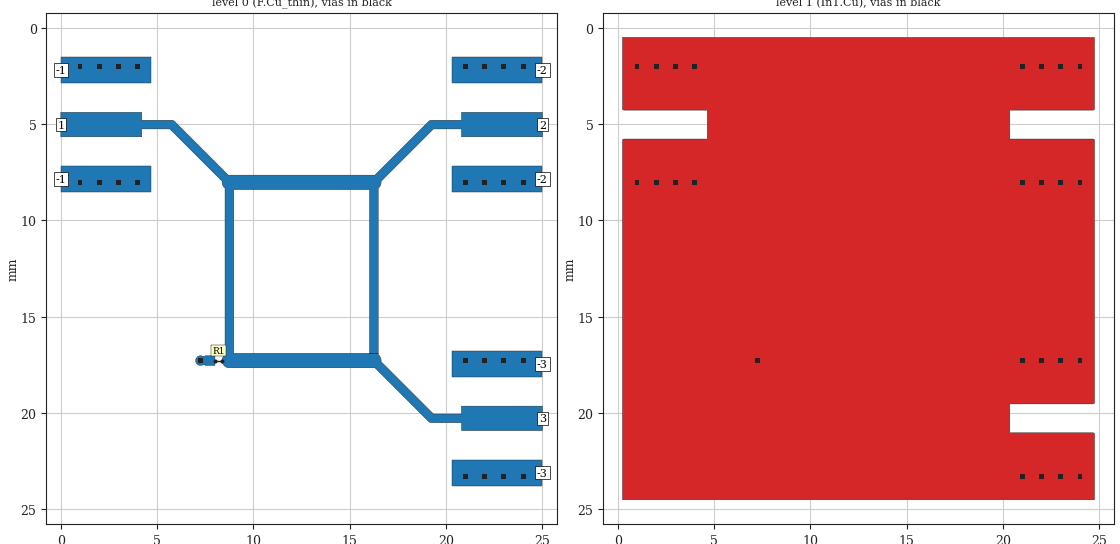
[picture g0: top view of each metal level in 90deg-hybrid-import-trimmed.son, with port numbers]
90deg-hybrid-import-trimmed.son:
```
FTYP SONPROJ 19 ! Sonnet Project File
VER 18.56
HEADER
LIC antikernel2.1.51813
DAT 11/29/2022 08:57:19
BUILT_BY_CREATED xgeom 18.56 11/27/2022 18:54:38
BUILT_BY_SAVED sonnet 18.56
MDATE 11/29/2022 00:23:21
HDATE 11/29/2022 00:23:21
ANN Created by dxfgeo, Sonnet Software Inc.
END HEADER
DIM
ANG DEG
CAP PF
CON /OH
FREQ GHZ
IND NH
LNG MM
RES OH
END DIM
CONTROL
VARSWP
OPTIONS  -dj
SPEED 1
CACHE_ABS 2
Q_ACC N
END CONTROL
GEO
STF ../../sonnet-techfiles/oshpark/4l/oshpark-4l-nosoldermask.stf
DRP1 LEFT NONE 3
DRP1 RIGHT NONE 3
TMET "Free Space" 0 FREESPACE 376.7303136 0 0 0
BMET "Free Space" 0 FREESPACE 376.7303136 0 0 0
BOX 0 25 25 2000 2000 20 0
TECHLAY METAL F.Cu_thin <UNSPECIFIED> -2 0 CAD F.Cu_thin drawing 
0 0 1 N 61 1 1 100 100 0 0 0 Y
END
END
LORGN 0 25 U 
POR1 BOX
POLY 6 1
2
-3 50 0 0 0 25 23.1 
POR1 BOX
POLY 13 1
0
-1 50 0 0 0 -3.469446952e-16 2.2 
POR1 BOX
POLY 14 1
2
-2 50 0 0 0 25 2.2 
POR1 BOX
POLY 9 1
0
-1 50 0 0 0 -3.469446952e-16 7.85 
POR1 BOX
POLY 10 1
2
-2 50 0 0 0 25 7.85 
POR1 BOX
POLY 90 1
64
1 50 0 0 0 -4.440892099e-16 5.025 
POR1 BOX
POLY 90 1
38
2 50 0 0 0 25 5.025 
POR1 BOX
POLY 90 1
119
3 50 0 0 0 25 20.275 
POR1 BOX
POLY 8 1
2
-3 50 0 0 0 25 17.45 
SMD 0 "R1"
ID 92
GNDREF AUTO
DRP1 LEFT NONE 2
DRP1 RIGHT NONE 2
SBOX 8.09375 8.28125 17.18125 17.36875
PBSHW N
LPOS 8.1875 17.18125
TYPE SPARAM 1
SMDP 0 8 17.275 L 4 1 
EXSMDP
GNDREF AUTO
TERMW FEED
END EXSMDP
SMDP 0 8.375 17.275 R 5 2 
EXSMDP
GNDREF AUTO
TERMW FEED
END EXSMDP
END
NUM 34
0 5 1 N 6 1 1 100 100 0 0 0 Y
TLAYNAM F.Cu_thin INH
USER_DAT FromImport
20.3 23.775
20.3 22.425
25 22.425
25 23.775
20.3 23.775
END
0 5 1 N 13 1 1 100 100 0 0 0 Y
TLAYNAM F.Cu_thin INH
USER_DAT FromImport
-3.469446952e-16 2.875
-3.469446952e-16 1.525
4.7 1.525
4.7 2.875
-3.469446952e-16 2.875
END
0 5 1 N 14 1 1 100 100 0 0 0 Y
TLAYNAM F.Cu_thin INH
USER_DAT FromImport
20.3 2.875
20.3 1.525
25 1.525
25 2.875
20.3 2.875
END
0 5 1 N 9 1 1 100 100 0 0 0 Y
TLAYNAM F.Cu_thin INH
USER_DAT FromImport
-3.469446952e-16 8.525
-3.469446952e-16 7.175
4.7 7.175
4.7 8.525
-3.469446952e-16 8.525
END
0 51 1 N 7 1 1 100 100 0 0 0 Y
TLAYNAM F.Cu_thin INH
USER_DAT FromImport
7.238 17.525
7.213 17.522
7.189 17.518
7.166 17.51
7.143 17.501
7.121 17.489
7.101 17.476
7.082 17.46
7.065 17.443
7.049 17.424
7.036 17.404
7.024 17.382
7.015 17.359
7.007 17.336
7.003 17.312
7 17.287
7 17.263
7.003 17.238
7.007 17.214
7.015 17.191
7.024 17.168
7.036 17.146
7.049 17.126
7.065 17.107
7.082 17.09
7.101 17.074
7.121 17.061
7.143 17.049
7.166 17.04
7.189 17.032
7.213 17.028
7.238 17.025
7.262 17.025
7.287 17.028
7.311 17.032
7.334 17.04
7.357 17.049
7.359 17.05
7.5 17.05
7.5 17.025
8 17.025
8 17.525
7.5 17.525
7.5 17.5
7.359 17.5
7.357 17.501
7.334 17.51
7.311 17.518
7.287 17.522
7.262 17.525
7.238 17.525
END
0 5 1 N 10 1 1 100 100 0 0 0 Y
TLAYNAM F.Cu_thin INH
USER_DAT FromImport
20.3 8.525
20.3 7.175
25 7.175
25 8.525
20.3 8.525
END
0 121 1 N 90 1 1 100 100 0 0 0 Y
TLAYNAM F.Cu_thin INH
USER_DAT FromImport
25 19.64
20.8 19.64
20.8 20.05
19.343 20.05
16.621 17.328
16.625 17.293
16.625 17.257
16.621 17.22
16.614 17.184
16.604 17.149
16.589 17.114
16.572 17.082
16.552 17.051
16.528 17.023
16.502 16.997
16.475 16.974
16.475 16.9
16.025 16.9
8.975 16.9
8.975 8.4
16.025 8.4
16.025 16.9
16.475 16.9
16.475 8.326
16.502 8.303
16.528 8.277
16.552 8.249
16.572 8.218
16.589 8.186
16.604 8.151
16.614 8.116
16.621 8.08
16.625 8.043
16.625 8.007
16.621 7.972
19.343 5.25
20.8 5.25
20.8 5.66
25 5.66
25 4.39
20.8 4.39
20.8 4.8
19.239 4.8
19.217 4.802
19.195 4.806
19.174 4.813
19.154 4.821
19.134 4.832
19.116 4.844
19.099 4.858
16.303 7.654
16.268 7.65
8.732 7.65
8.697 7.654
5.901 4.858
5.884 4.844
5.866 4.832
5.846 4.821
5.826 4.813
5.805 4.806
5.783 4.802
5.761 4.8
4.2 4.8
4.2 4.39
-4.440892099e-16 4.39
-4.440892099e-16 5.66
4.2 5.66
4.2 5.25
5.657 5.25
8.379 7.972
8.375 8.007
8.375 8.043
8.379 8.08
8.386 8.116
8.396 8.151
8.411 8.186
8.428 8.218
8.448 8.249
8.472 8.277
8.498 8.303
8.525 8.326
8.525 16.974
8.498 16.997
8.472 17.023
8.448 17.051
8.428 17.082
8.411 17.114
8.396 17.149
8.386 17.184
8.379 17.22
8.375 17.257
8.375 17.293
8.379 17.33
8.386 17.366
8.396 17.401
8.411 17.436
8.428 17.468
8.448 17.499
8.472 17.527
8.498 17.553
8.526 17.577
8.557 17.597
8.589 17.614
8.624 17.629
8.659 17.639
8.695 17.646
8.732 17.65
16.268 17.65
16.303 17.646
19.099 20.442
19.116 20.456
19.134 20.468
19.154 20.479
19.174 20.487
19.195 20.494
19.217 20.498
19.239 20.5
20.8 20.5
20.8 20.91
25 20.91
25 19.64
END
0 5 1 N 8 1 1 100 100 0 0 0 Y
TLAYNAM F.Cu_thin INH
USER_DAT FromImport
20.3 18.125
20.3 16.775
25 16.775
25 18.125
20.3 18.125
END
VIA POLYGON
0 5 -1 N 35 1 1 100 100 0 0 0 Y
TOLEVEL 3 RING NOCOVERS
TLAYNAM Via1 INH
USER_DAT FromImport
23.875 23.4
23.875 23.15
24.125 23.15
24.125 23.4
23.875 23.4
END
VIA POLYGON
0 5 -1 N 32 1 1 100 100 0 0 0 Y
TOLEVEL 3 RING NOCOVERS
TLAYNAM Via1 INH
USER_DAT FromImport
20.875 23.4
20.875 23.15
21.125 23.15
21.125 23.4
20.875 23.4
END
VIA POLYGON
0 5 -1 N 33 1 1 100 100 0 0 0 Y
TOLEVEL 3 RING NOCOVERS
TLAYNAM Via1 INH
USER_DAT FromImport
21.875 23.4
21.875 23.15
22.125 23.15
22.125 23.4
21.875 23.4
END
VIA POLYGON
0 5 -1 N 53 1 1 100 100 0 0 0 Y
TOLEVEL 3 RING NOCOVERS
TLAYNAM Via1 INH
USER_DAT FromImport
20.875 2.15
20.875 1.9
21.125 1.9
21.125 2.15
20.875 2.15
END
VIA POLYGON
0 5 -1 N 42 1 1 100 100 0 0 0 Y
TOLEVEL 3 RING NOCOVERS
TLAYNAM Via1 INH
USER_DAT FromImport
1.875 8.15
1.875 7.9
2.125 7.9
2.125 8.15
1.875 8.15
END
VIA POLYGON
0 5 -1 N 38 1 1 100 100 0 0 0 Y
TOLEVEL 3 RING NOCOVERS
TLAYNAM Via1 INH
USER_DAT FromImport
21.875 17.4
21.875 17.15
22.125 17.15
22.125 17.4
21.875 17.4
END
VIA POLYGON
0 5 -1 N 47 1 1 100 100 0 0 0 Y
TOLEVEL 3 RING NOCOVERS
TLAYNAM Via1 INH
USER_DAT FromImport
22.875 8.15
22.875 7.9
23.125 7.9
23.125 8.15
22.875 8.15
END
VIA POLYGON
0 5 -1 N 54 1 1 100 100 0 0 0 Y
TOLEVEL 3 RING NOCOVERS
TLAYNAM Via1 INH
USER_DAT FromImport
21.875 2.15
21.875 1.9
22.125 1.9
22.125 2.15
21.875 2.15
END
VIA POLYGON
0 5 -1 N 50 1 1 100 100 0 0 0 Y
TOLEVEL 3 RING NOCOVERS
TLAYNAM Via1 INH
USER_DAT FromImport
1.875 2.15
1.875 1.9
2.125 1.9
2.125 2.15
1.875 2.15
END
VIA POLYGON
0 5 -1 N 34 1 1 100 100 0 0 0 Y
TOLEVEL 3 RING NOCOVERS
TLAYNAM Via1 INH
USER_DAT FromImport
22.875 23.4
22.875 23.15
23.125 23.15
23.125 23.4
22.875 23.4
END
VIA POLYGON
0 5 -1 N 48 1 1 100 100 0 0 0 Y
TOLEVEL 3 RING NOCOVERS
TLAYNAM Via1 INH
USER_DAT FromImport
23.875 8.15
23.875 7.9
24.125 7.9
24.125 8.15
23.875 8.15
END
VIA POLYGON
0 5 -1 N 52 1 1 100 100 0 0 0 Y
TOLEVEL 3 RING NOCOVERS
TLAYNAM Via1 INH
USER_DAT FromImport
3.875 2.15
3.875 1.9
4.125 1.9
4.125 2.15
3.875 2.15
END
VIA POLYGON
0 5 -1 N 45 1 1 100 100 0 0 0 Y
TOLEVEL 3 RING NOCOVERS
TLAYNAM Via1 INH
USER_DAT FromImport
20.875 8.15
20.875 7.9
21.125 7.9
21.125 8.15
20.875 8.15
END
VIA POLYGON
0 5 -1 N 39 1 1 100 100 0 0 0 Y
TOLEVEL 3 RING NOCOVERS
TLAYNAM Via1 INH
USER_DAT FromImport
22.875 17.4
22.875 17.15
23.125 17.15
23.125 17.4
22.875 17.4
END
VIA POLYGON
0 5 -1 N 51 1 1 100 100 0 0 0 Y
TOLEVEL 3 RING NOCOVERS
TLAYNAM Via1 INH
USER_DAT FromImport
2.875 2.15
2.875 1.9
3.125 1.9
3.125 2.15
2.875 2.15
END
VIA POLYGON
0 5 -1 N 44 1 1 100 100 0 0 0 Y
TOLEVEL 3 RING NOCOVERS
TLAYNAM Via1 INH
USER_DAT FromImport
3.875 8.15
3.875 7.9
4.125 7.9
4.125 8.15
3.875 8.15
END
VIA POLYGON
0 5 -1 N 49 1 1 100 100 0 0 0 Y
TOLEVEL 3 RING NOCOVERS
TLAYNAM Via1 INH
USER_DAT FromImport
0.875 2.15
0.875 1.9
1.125 1.9
1.125 2.15
0.875 2.15
END
VIA POLYGON
0 5 -1 N 37 1 1 100 100 0 0 0 Y
TOLEVEL 3 RING NOCOVERS
TLAYNAM Via1 INH
USER_DAT FromImport
20.875 17.4
20.875 17.15
21.125 17.15
21.125 17.4
20.875 17.4
END
VIA POLYGON
0 5 -1 N 55 1 1 100 100 0 0 0 Y
TOLEVEL 3 RING NOCOVERS
TLAYNAM Via1 INH
USER_DAT FromImport
22.875 2.15
22.875 1.9
23.125 1.9
23.125 2.15
22.875 2.15
END
VIA POLYGON
0 5 -1 N 46 1 1 100 100 0 0 0 Y
TOLEVEL 3 RING NOCOVERS
TLAYNAM Via1 INH
USER_DAT FromImport
21.875 8.15
21.875 7.9
22.125 7.9
22.125 8.15
21.875 8.15
END
VIA POLYGON
0 5 -1 N 43 1 1 100 100 0 0 0 Y
TOLEVEL 3 RING NOCOVERS
TLAYNAM Via1 INH
USER_DAT FromImport
2.875 8.15
2.875 7.9
3.125 7.9
3.125 8.15
2.875 8.15
END
VIA POLYGON
0 5 -1 N 56 1 1 100 100 0 0 0 Y
TOLEVEL 3 RING NOCOVERS
TLAYNAM Via1 INH
USER_DAT FromImport
23.875 2.15
23.875 1.9
24.125 1.9
24.125 2.15
23.875 2.15
END
VIA POLYGON
0 5 -1 N 41 1 1 100 100 0 0 0 Y
TOLEVEL 3 RING NOCOVERS
TLAYNAM Via1 INH
USER_DAT FromImport
0.875 8.15
0.875 7.9
1.125 7.9
1.125 8.15
0.875 8.15
END
VIA POLYGON
0 5 -1 N 40 1 1 100 100 0 0 0 Y
TOLEVEL 3 RING NOCOVERS
TLAYNAM Via1 INH
USER_DAT FromImport
23.875 17.4
23.875 17.15
24.125 17.15
24.125 17.4
23.875 17.4
END
VIA POLYGON
0 5 -1 N 36 1 1 100 100 0 0 0 Y
TOLEVEL 3 RING NOCOVERS
TLAYNAM Via1 INH
USER_DAT FromImport
7.125 17.4
7.125 17.15
7.375 17.15
7.375 17.4
7.125 17.4
END
1 29 2 N 132 1 1 100 100 0 0 0 Y
TLAYNAM In1.Cu INH
USER_DAT FromImport
24.75 21.087
24.732 21.043
24.689 21.025
20.35 21.025
20.35 19.525
24.689 19.525
24.732 19.507
24.75 19.464
24.75 5.837
24.732 5.793
24.689 5.775
20.35 5.775
20.35 4.275
24.689 4.275
24.732 4.257
24.75 4.214
24.75 0.5
0.25 0.5
0.25 4.214
0.268 4.257
0.312 4.275
4.65 4.275
4.65 5.775
0.312 5.775
0.268 5.793
0.25 5.837
0.25 24.5
24.75 24.5
24.75 21.087
END
END GEO
OPT
MAX 100
END OPT
VARSWP
ENABLED Y
FREQ Y AY ABS_ENTRY 0.1 8.5 -1 300 
END
END VARSWP
SMDFILES
1 "../../../../../../bulk/datasheets/Vishay/Resistors/FC/0402/FC0402-FlipChip-50 Ohm.s2p"
END SMDFILES
```
